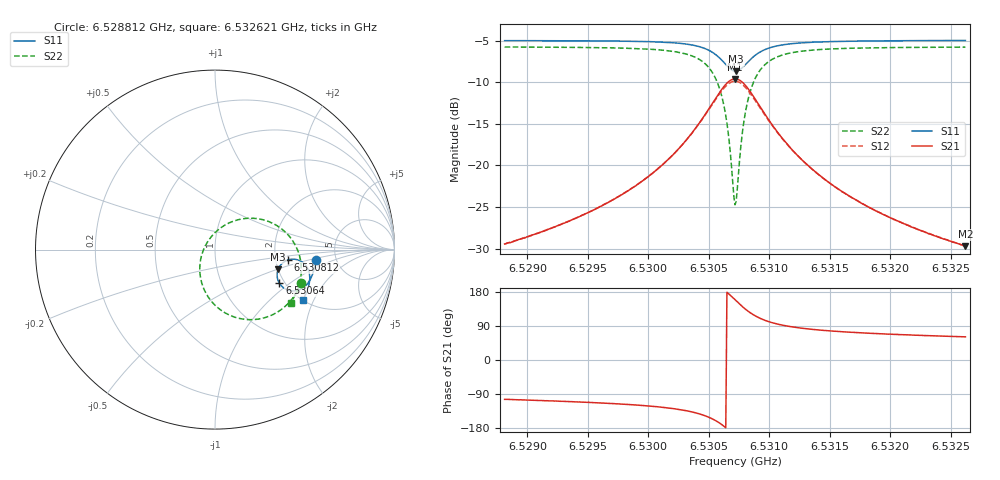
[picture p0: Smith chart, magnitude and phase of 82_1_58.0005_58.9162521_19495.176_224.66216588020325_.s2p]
#  HZ  S  RI  R  50.00
! Rohde & Schwarz Vector Network Analyzer
! Rohde-Schwarz,ZNB20-2Port,1311601062101988,3.16
! Created: UTC 3/21/2024, 12:53:56 AM
! freq[Hz]  re:S11  im:S11  re:S21  im:S21  re:S12  im:S12  re:S22  im:S22
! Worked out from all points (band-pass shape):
!   401 points, 6.528812 GHz to 6.532621 GHz, reference 50 ohm
!   highest |S21| = -9.58 dB at 6.530717 GHz (marker M1); lowest = -29.7 dB at 6.532621 GHz (marker M2)
!   |S21| within 3 dB of the highest: 6.530527 GHz to 6.530908 GHz (381.3 kHz wide, 0.00584 % of centre)
!   lowest |S11| = -8.7 dB at 6.530726 GHz (marker M3), VSWR 2.17, Z = 100 - j25.4 ohm
!   |S11| at or under -10 dB: nowhere
!   |S22| runs from -24.7 to -5.7 dB; largest |S21 - S12| = 0.014
!   S11 on the Smith chart (normalised r, x): 6.528812 GHz: 3.48, -0.57; 6.53064 GHz: 1.87, -0.84; 6.530812 GHz: 2.34, -0.32; 6.532621 GHz: 2.02, -1.66
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6.5288121e9  0.5608 -0.0562  -0.00805 -0.0327  -0.00871 -0.0326  0.481 -0.1859
6.5294501e9  0.5513 -0.1108  -0.0181 -0.0467  -0.019 -0.0462  0.4488 -0.2482
6.5298025e9  0.5405 -0.1453  -0.0307 -0.0609  -0.0324 -0.0602  0.4153 -0.2923
6.5300882e9  0.5238 -0.1783  -0.054 -0.0803  -0.0562 -0.0787  0.3628 -0.3386
6.5303167e9  0.4944 -0.2103  -0.0992 -0.1027  -0.1025 -0.0991  0.2709 -0.3811
6.5304786e9  0.4462 -0.2296  -0.1762 -0.109  -0.1788 -0.1012  0.13 -0.3823
6.5305738e9  0.3962 -0.2212  -0.2537 -0.0762  -0.2521 -0.0651  0.00184 -0.3114
6.5306405e9  0.3592 -0.1878  -0.3074 -0.00716  -0.2998 0.00389  -0.0743 -0.1846
6.530669e9  0.349 -0.1645  -0.3193 0.0369  -0.3091 0.0461  -0.0849 -0.1097
6.5306976e9  0.346 -0.1371  -0.3187 0.0858  -0.3065 0.0921  -0.0741 -0.0297
6.5307166e9  0.3489 -0.1189  -0.31 0.1183  -0.2975 0.1222  -0.0536 0.0219
6.5307262e9  0.3518 -0.1099  -0.3033 0.1339  -0.2907 0.1367  -0.0397 0.046
6.5307357e9  0.3556 -0.1012  -0.2951 0.1487  -0.2827 0.1503  -0.0233 0.0686
6.5307738e9  0.3783 -0.0732  -0.2511 0.1961  -0.2404 0.1941  0.0576 0.1378
6.5308119e9  0.4071 -0.0576  -0.1987 0.2219  -0.1908 0.218  0.1486 0.1706
6.5308785e9  0.4538 -0.0555  -0.1171 0.2253  -0.1133 0.2216  0.2858 0.1609
6.5309738e9  0.4955 -0.0774  -0.0465 0.1928  -0.0449 0.1907  0.4001 0.0897
6.5311166e9  0.5204 -0.1141  -0.00352 0.143  -0.00228 0.1423  0.4636 -0.0115
6.5313547e9  0.5282 -0.1584  0.0152 0.0937  0.0161 0.0934  0.4812 -0.1144
6.5316213e9  0.5243 -0.1926  0.0186 0.0657  0.0195 0.0654  0.4731 -0.1792
6.5319927e9  0.5137 -0.229  0.018 0.0453  0.0189 0.045  0.4549 -0.2349
6.5326212e9  0.4916 -0.2789  0.0158 0.0286  0.0163 0.0283  0.4224 -0.2954
